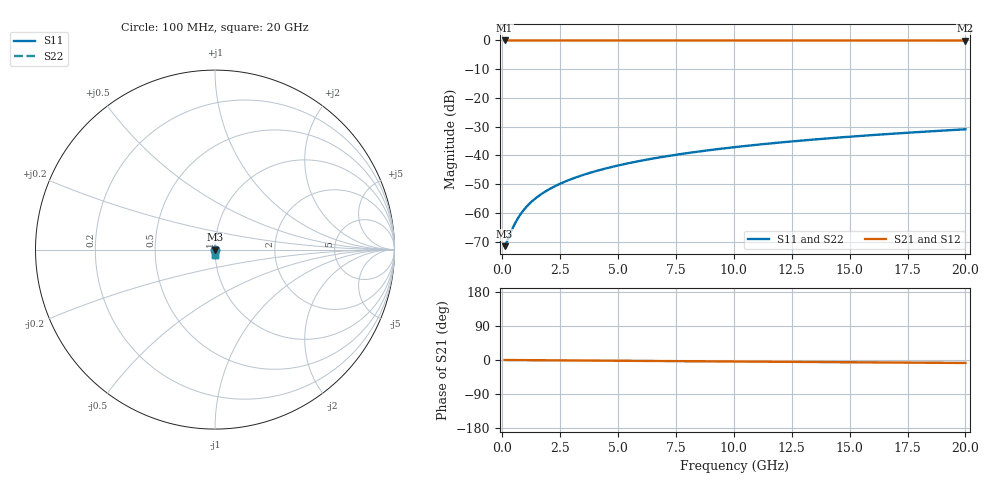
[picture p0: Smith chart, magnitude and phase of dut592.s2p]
! Touchstone file exported from HFSS 2026.1.0
!  File:  C:/ffzhzh/LocalFiles/Ansys_Project_Files/temp_train_TSV_592_1783025267_53980.aedt
!  Generated:  04:49:42 AM Jul  3, 2026
!  Design:  TSV
!  Project:  temp_train_TSV_592_1783025267_53980
! Variables:
!  h_bsmrdl = 2um
!  h_ox = 20um
!  h_rdl = 5um
!  h_sub = 82.86um
!  h_tmrdl = 5um
!  h_tsv = 82.86um
!  h_via = 3um
!  l_bsmrdl = 300um
!  l_sub = 413.62um
!  l_tmrdl = 200um
!  m_sub = 200um
!  pitch = 22.66um
!  r_tsv = 6.81um
!  s_tmrdl = 10um
!  w_bsmrdl = 18um
!  w_sub = 500um
!  w_tmrdl = 12um
!  x_tsv_center1 = 206um
!  x_tsv_center2 = 524um
!  x_tsv_center3 = 736um
!  x_tsv_center4 = 1054um
!  x_tsv_center5 = 1266um
!  x_tsv_center6 = 1584um
# GHz S MA R 50.000000
! Terminal data exported
! Port[1] = TSV1_1_T1
! Port[2] = TSV1_1_T2
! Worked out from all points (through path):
!   200 points, 100 MHz to 20 GHz, reference 50 ohm
!   highest |S21| = 0.00 dB at 100 MHz (marker M1); lowest = 0.0 dB at 20 GHz (marker M2)
!   group delay of S21, straight-line fit = 1.09 ps
!   lowest |S11| = -71.6 dB at 100 MHz (marker M3), VSWR 1.00, Z = 50 - j0.00813 ohm
!   |S11| at or under -10 dB: start of sweep to end of sweep
!   |S22| runs from -71.6 to -30.9 dB; largest |S21 - S12| = 2.3e-15
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0.1  0.0002645 -17.9  0.9997 -0.0  0.9997 -0.0  0.0002645 -17.9
! Gamma 0 0 0 0
! Port Impedance 50 0 50 0
0.2  0.0003183 -31.8  0.9997 -0.1  0.9997 -0.1  0.0003183 -31.8
0.4  0.0004934 -48.2  0.9997 -0.2  0.9997 -0.2  0.0004934 -48.2
0.5  0.0006017 -53.1  0.9996 -0.2  0.9996 -0.2  0.0006017 -53.1
0.7  0.0008401 -60.1  0.9996 -0.3  0.9996 -0.3  0.0008401 -60.1
0.8  0.0009658 -62.6  0.9995 -0.3  0.9995 -0.3  0.0009658 -62.6
1  0.001224 -66.7  0.9995 -0.4  0.9995 -0.4  0.001224 -66.7
1.3  0.001618 -70.9  0.9995 -0.5  0.9995 -0.5  0.001618 -70.9
1.7  0.002149 -74.5  0.9994 -0.7  0.9994 -0.7  0.002149 -74.5
2.2  0.00282 -77.3  0.9993 -0.9  0.9993 -0.9  0.00282 -77.3
2.8  0.003632 -79.5  0.9993 -1.1  0.9993 -1.1  0.003632 -79.5
3.5  0.004594 -81.2  0.9992 -1.4  0.9992 -1.4  0.004594 -81.2
4.2  0.005568 -82.4  0.9991 -1.7  0.9991 -1.7  0.005568 -82.4
5  0.006695 -83.6  0.999 -2.0  0.999 -2.0  0.006695 -83.6
5.9  0.007977 -84.6  0.9989 -2.3  0.9989 -2.3  0.007977 -84.6
6.8  0.009269 -85.5  0.9988 -2.7  0.9988 -2.7  0.009269 -85.5
8.3  0.01143 -86.9  0.9987 -3.3  0.9987 -3.3  0.01143 -86.9
10.1  0.01405 -88.2  0.9985 -4.0  0.9985 -4.0  0.01405 -88.2
11.7  0.01637 -89.3  0.9984 -4.6  0.9984 -4.6  0.01637 -89.3
13.4  0.01885 -90.4  0.9982 -5.3  0.9982 -5.3  0.01885 -90.4
16.7  0.02367 -92.2  0.9979 -6.6  0.9979 -6.6  0.02367 -92.2
20  0.02851 -93.8  0.9976 -7.9  0.9976 -7.9  0.02851 -93.8
